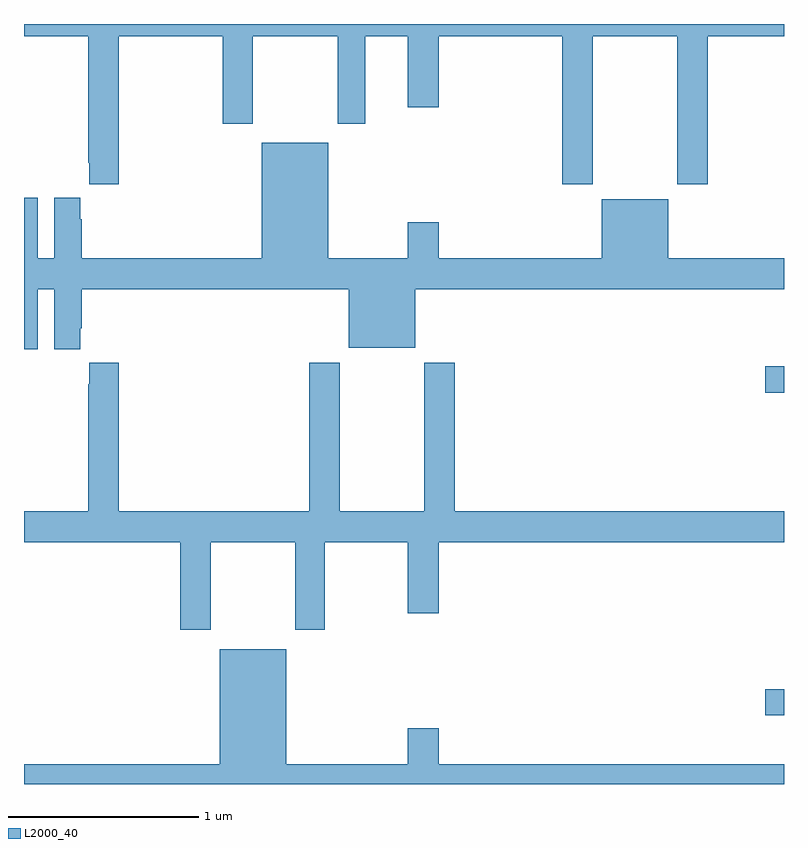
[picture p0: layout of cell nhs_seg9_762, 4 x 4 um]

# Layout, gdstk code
import gdstk
lib = gdstk.Library(unit=1e-6, precision=1e-09)
def R(c, l, rs):  # rectangles x0, y0, x1, y1
    for r in rs: c.add(gdstk.rectangle(r[:2], r[2:], *l))
def P(c, l, *ps):  # polygons
    for p in ps: c.add(gdstk.Polygon(p, *l))
L2000_40 = (2000, 40)

nhs_seg9_762 = lib.new_cell('nhs_seg9_762')
R(nhs_seg9_762, L2000_40, [(154.902,1176.863,155,1176.998), (154.902,1178.558,155,1178.7)])
P(nhs_seg9_762, L2000_40, [(151.499,1180.436),(152.045,1180.436),(152.045,1179.975),(152.205,1179.975),(152.205,1180.436),(152.65,1180.436),(152.65,1179.975),(152.797,1179.975),(152.797,1180.436),(153.02,1180.436),(153.02,1180.062),(153.184,1180.062),(153.184,1180.436),(153.833,1180.436),(153.833,1179.657),(153.993,1179.657),(153.993,1180.436),(154.438,1180.436),(154.438,1179.657),(154.598,1179.657),(154.598,1180.436),(155,1180.436),(155,1180.5),(151,1180.5),(151,1180.436),(151.339,1180.436),(151.339,1179.769),(151.343,1179.769),(151.343,1179.657),(151.499,1179.657)],
  [(151.072,1179.104),(151.16,1179.104),(151.16,1178.787),(151.297,1178.787),(151.297,1178.899),(151.304,1178.899),(151.304,1179.104),(152.708,1179.104),(152.708,1178.795),(153.058,1178.795),(153.058,1179.104),(155,1179.104),(155,1179.268),(154.39,1179.268),(154.39,1179.577),(154.04,1179.577),(154.04,1179.268),(153.184,1179.268),(153.184,1179.457),(153.02,1179.457),(153.02,1179.268),(152.602,1179.268),(152.602,1179.874),(152.252,1179.874),(152.252,1179.268),(151.304,1179.268),(151.304,1179.473),(151.297,1179.473),(151.297,1179.586),(151.16,1179.586),(151.16,1179.268),(151.072,1179.268),(151.072,1179.586),(151,1179.586),(151,1178.787),(151.072,1178.787)],
  [(151.983,1177.772),(152.428,1177.772),(152.428,1177.311),(152.583,1177.311),(152.583,1177.772),(153.02,1177.772),(153.02,1177.398),(153.184,1177.398),(153.184,1177.772),(155,1177.772),(155,1177.936),(153.266,1177.936),(153.266,1178.716),(153.106,1178.716),(153.106,1177.936),(152.661,1177.936),(152.661,1178.716),(152.501,1178.716),(152.501,1177.936),(151.499,1177.936),(151.499,1178.716),(151.343,1178.716),(151.343,1178.603),(151.339,1178.603),(151.339,1177.936),(151,1177.936),(151,1177.772),(151.823,1177.772),(151.823,1177.311),(151.983,1177.311)],
  [(155,1176.604),(153.184,1176.604),(153.184,1176.793),(153.02,1176.793),(153.02,1176.604),(152.38,1176.604),(152.38,1177.21),(152.03,1177.21),(152.03,1176.604),(151,1176.604),(151,1176.5),(155,1176.5)])

lib.write_gds('nhs_seg9_762.gds')
